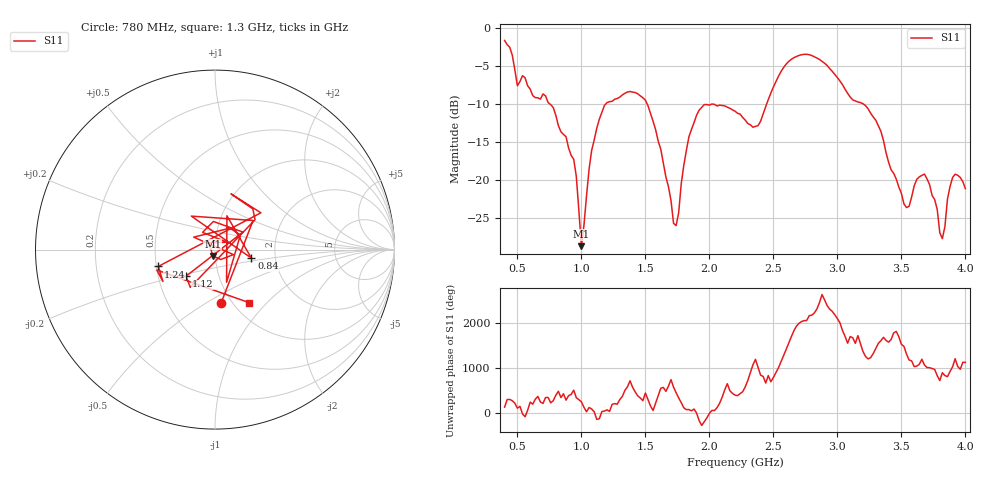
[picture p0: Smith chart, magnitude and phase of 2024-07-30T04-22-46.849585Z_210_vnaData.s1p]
!Created with skrf (http://scikit-rf.org).
# Hz S RI R 50.0
!freq ReS11 ImS11
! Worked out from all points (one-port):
!   181 points, 400 MHz to 4 GHz, reference 50 ohm
!   lowest |S11| = -28.6 dB at 1 GHz (marker M1), VSWR 1.08, Z = 48.7 - j3.4 ohm
!   |S11| at or under -10 dB: 754.4 MHz to 1.19 GHz (435.4 MHz wide, 44.8 % of centre); 1.514 GHz to 2.019 GHz (504.9 MHz wide, 28.6 % of centre); 3.203 GHz to end of sweep (the widest 3 of 4)
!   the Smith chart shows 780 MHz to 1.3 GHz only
!   S11 on the Smith chart (normalised r, x): 780 MHz: 0.89, -0.58; 840 MHz: 1.50, -0.15; 1.12 GHz: 0.69, -0.22; 1.24 GHz: 0.51, -0.11; 1.3 GHz: 1.18, -0.79
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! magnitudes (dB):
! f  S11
! 400 MHz  -1.7
! 500 MHz  -7.6
! 780 MHz  -10.4
! 840 MHz  -13.6
! 860 MHz  -14.0
! 940 MHz  -17.2
! 1 GHz  -28.6
! 1.06 GHz  -18.5
! 1.12 GHz  -13.2
! 1.24 GHz  -9.6
! 1.3 GHz  -9.1
! 1.5 GHz  -9.5
! 1.62 GHz  -15.9
! 1.72 GHz  -25.6
! 1.76 GHz  -24.2
! 1.84 GHz  -14.3
! 1.92 GHz  -10.8
! 2.2 GHz  -10.9
! 2.38 GHz  -12.8
! 2.66 GHz  -3.9
! 2.86 GHz  -4.1
! 3.1 GHz  -9.1
! 3.3 GHz  -12.1
! 3.56 GHz  -23.4
! 3.68 GHz  -19.2
! 3.82 GHz  -27.6
! 3.9 GHz  -19.6
! 4 GHz  -21.1
